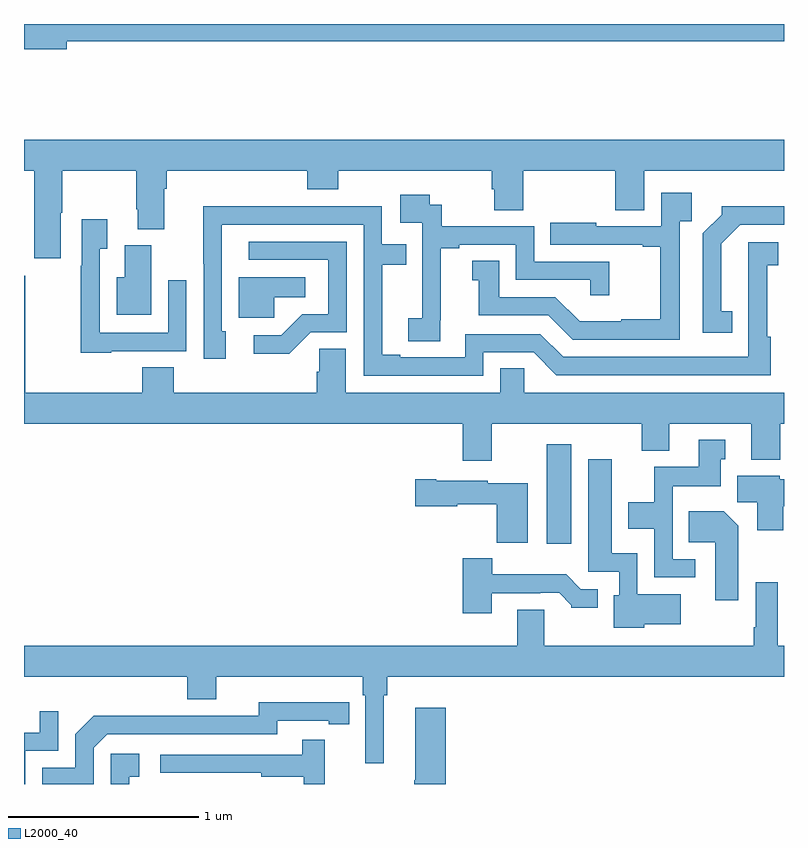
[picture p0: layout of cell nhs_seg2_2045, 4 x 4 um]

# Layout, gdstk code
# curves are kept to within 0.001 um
import gdstk
lib = gdstk.Library(unit=1e-6, precision=1e-09)
def R(c, l, rs):  # rectangles x0, y0, x1, y1
    for r in rs: c.add(gdstk.rectangle(r[:2], r[2:], *l))
def P(c, l, *ps):  # polygons
    for p in ps: c.add(gdstk.Polygon(p, *l))
L2000_40 = (2000, 40)

nhs_seg2_2045 = lib.new_cell('nhs_seg2_2045')
R(nhs_seg2_2045, L2000_40, [(221.75,587.064,221.881,587.587)])
P(nhs_seg2_2045, L2000_40, [(219.226,589.708),(223,589.708),(223,589.8),(219,589.8),(219,589.666),(219.226,589.666)],
  [(219.193,588.806),(219.201,588.806),(219.201,589.028),(219.592,589.028),(219.592,588.826),(219.599,588.826),(219.599,588.721),(219.739,588.721),(219.739,588.932),(219.752,588.932),(219.752,589.028),(220.49,589.028),(220.49,588.929),(220.655,588.929),(220.655,589.028),(221.462,589.028),(221.462,588.93),(221.474,588.93),(221.474,588.82),(221.627,588.82),(221.627,589.028),(222.113,589.028),(222.113,588.82),(222.265,588.82),(222.265,589.028),(223,589.028),(223,589.192),(219,589.192),(219,589.028),(219.053,589.028),(219.053,588.567),(219.193,588.567)],
  [(222.45,588.761),(222.515,588.761),(222.515,588.913),(222.354,588.913),(222.354,588.735),(222.013,588.735),(222.013,588.754),(221.77,588.754),(221.77,588.639),(222.257,588.639),(222.257,588.627),(222.349,588.627),(222.349,588.247),(222.143,588.247),(222.143,588.235),(221.924,588.235),(221.796,588.363),(221.5,588.363),(221.5,588.554),(221.36,588.554),(221.36,588.451),(221.393,588.451),(221.393,588.267),(221.76,588.267),(221.889,588.138),(222.45,588.138)],
  [(221.192,588.241),(221.194,588.241),(221.194,588.619),(221.29,588.619),(221.29,588.639),(221.589,588.639),(221.589,588.453),(221.979,588.453),(221.979,588.372),(222.08,588.372),(222.08,588.549),(221.685,588.549),(221.685,588.735),(221.198,588.735),(221.198,588.849),(221.136,588.849),(221.136,588.901),(220.98,588.901),(220.98,588.753),(221.097,588.753),(221.097,588.449),(221.096,588.449),(221.096,588.252),(221.022,588.252),(221.022,588.13),(221.192,588.13)],
  [(221.418,588.072),(221.682,588.072),(221.802,587.952),(222.929,587.952),(222.929,588.155),(222.912,588.155),(222.912,588.531),(222.97,588.531),(222.97,588.652),(222.812,588.652),(222.813,588.048),(221.838,588.048),(221.718,588.168),(221.322,588.168),(221.322,588.045),(220.981,588.045),(220.981,588.06),(220.885,588.06),(220.885,588.534),(221.012,588.534),(221.012,588.642),(220.884,588.642),(220.884,588.84),(220.406,588.84),(220.406,588.842),(219.944,588.842),(219.945,588.039),(220.063,588.039),(220.063,588.183),(220.041,588.183),(220.041,588.744),(220.788,588.744),(220.788,587.949),(221.418,587.949)],
  [(222.728,588.287),(222.67,588.287),(222.67,588.643),(222.771,588.744),(223,588.744),(223,588.842),(222.672,588.842),(222.672,588.797),(222.573,588.698),(222.573,588.174),(222.728,588.174)],
  [(219.459,588.078),(219.855,588.078),(219.855,588.451),(219.759,588.451),(219.759,588.174),(219.399,588.174),(219.399,588.616),(219.439,588.616),(219.439,588.772),(219.303,588.772),(219.303,588.527),(219.298,588.527),(219.298,588.071),(219.459,588.071)],
  [(220.509,588.177),(220.698,588.177),(220.698,588.654),(220.182,588.654),(220.182,588.558),(220.602,588.558),(220.602,588.273),(220.464,588.273),(220.353,588.162),(220.209,588.162),(220.209,588.065),(220.396,588.065)],
  [(219.67,588.636),(219.53,588.636),(219.53,588.466),(219.488,588.466),(219.488,588.269),(219.67,588.269)],
  [(220.317,588.362),(220.48,588.362),(220.48,588.466),(220.13,588.466),(220.13,588.255),(220.317,588.255)],
  [(221.634,587.987),(221.507,587.987),(221.507,587.86),(220.693,587.86),(220.693,588.092),(220.554,588.092),(220.554,587.969),(220.541,587.969),(220.541,587.86),(219.788,587.86),(219.788,587.993),(219.623,587.993),(219.623,587.86),(219.007,587.86),(219.007,588.475),(219,588.475),(219,587.696),(221.309,587.696),(221.309,587.502),(221.461,587.502),(221.461,587.696),(222.25,587.696),(222.25,587.555),(222.397,587.555),(222.397,587.696),(222.827,587.696),(222.827,587.507),(222.98,587.507),(222.98,587.696),(223,587.696),(223,587.86),(221.634,587.86)],
  [(222.532,586.983),(222.414,586.983),(222.414,587.366),(222.667,587.366),(222.667,587.508),(222.691,587.508),(222.691,587.611),(222.551,587.611),(222.551,587.47),(222.316,587.47),(222.316,587.284),(222.179,587.284),(222.179,587.144),(222.318,587.144),(222.318,586.887),(222.532,586.887)],
  [(222.264,586.64),(222.457,586.64),(222.457,586.798),(222.228,586.798),(222.228,587.014),(222.094,587.014),(222.094,587.509),(221.969,587.509),(221.969,586.917),(222.132,586.917),(222.132,586.794),(222.104,586.794),(222.104,586.622),(222.264,586.622)],
  [(222.995,587.261),(223,587.261),(223,587.403),(222.978,587.403),(222.978,587.422),(222.755,587.422),(222.755,587.284),(222.86,587.284),(222.86,587.136),(222.995,587.136)],
  [(221.65,587.383),(221.442,587.383),(221.442,587.395),(221.17,587.395),(221.17,587.403),(221.058,587.403),(221.058,587.261),(221.28,587.261),(221.28,587.273),(221.488,587.273),(221.488,587.069),(221.65,587.069)],
  [(222.76,587.158),(222.682,587.236),(222.499,587.236),(222.499,587.072),(222.638,587.072),(222.638,586.767),(222.76,586.767)],
  [(221.461,586.803),(221.717,586.803),(221.717,586.806),(221.816,586.806),(221.88,586.742),(221.88,586.727),(222.019,586.727),(222.019,586.824),(221.931,586.824),(221.853,586.903),(221.464,586.903),(221.464,586.987),(221.309,586.987),(221.309,586.698),(221.461,586.698)],
  [(220.894,586.268),(220.913,586.268),(220.913,586.364),(223,586.364),(223,586.528),(222.968,586.528),(222.968,586.861),(222.852,586.861),(222.852,586.624),(222.84,586.624),(222.84,586.528),(221.737,586.528),(221.737,586.718),(221.597,586.718),(221.597,586.528),(219,586.528),(219,586.364),(219.86,586.364),(219.86,586.247),(220.012,586.247),(220.012,586.364),(220.784,586.364),(220.784,586.268),(220.797,586.268),(220.797,585.909),(220.894,585.909)],
  [(219.366,585.99),(219.438,586.062),(220.332,586.062),(220.332,586.134),(220.604,586.134),(220.604,586.114),(220.712,586.114),(220.712,586.23),(220.236,586.231),(220.236,586.158),(219.776,586.158),(219.776,586.16),(219.368,586.16),(219.27,586.062),(219.27,585.885),(219.096,585.885),(219.096,585.8),(219.366,585.8)],
  [(221.219,586.201),(221.06,586.201),(221.06,585.821),(221.053,585.821),(221.053,585.8),(221.219,585.8)],
  [(219.006,585.975),(219.18,585.975),(219.18,586.183),(219.083,586.183),(219.083,586.071),(219,586.071),(219,585.8),(219.006,585.8)],
  [(220.583,586.033),(220.465,586.033),(220.465,585.954),(219.717,585.954),(219.717,585.858),(220.249,585.858),(220.249,585.838),(220.473,585.838),(220.473,585.8),(220.583,585.8)],
  [(219.554,585.837),(219.607,585.837),(219.607,585.958),(219.456,585.958),(219.456,585.8),(219.554,585.8)])

lib.write_gds('nhs_seg2_2045.gds')
